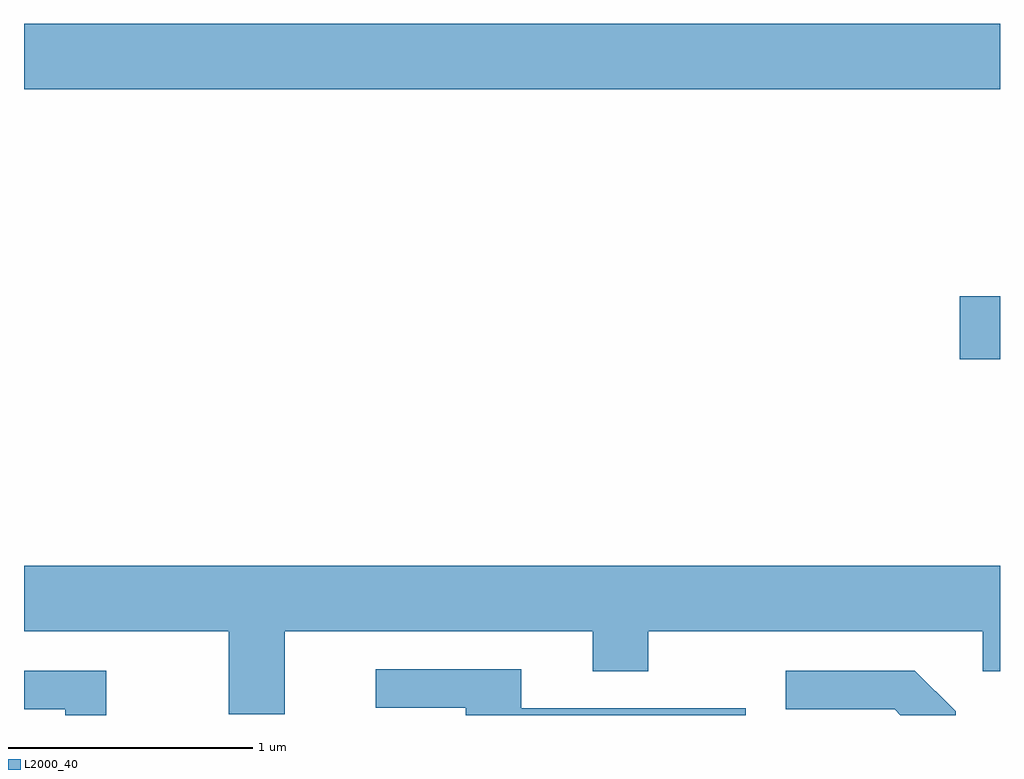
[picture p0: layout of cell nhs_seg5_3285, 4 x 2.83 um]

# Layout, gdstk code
import gdstk
lib = gdstk.Library(unit=1e-6, precision=1e-09)
def R(c, l, rs):  # rectangles x0, y0, x1, y1
    for r in rs: c.add(gdstk.rectangle(r[:2], r[2:], *l))
def P(c, l, *ps):  # polygons
    for p in ps: c.add(gdstk.Polygon(p, *l))
L2000_40 = (2000, 40)

nhs_seg5_3285 = lib.new_cell('nhs_seg5_3285')
R(nhs_seg5_3285, L2000_40, [(287.446,1393.531,287.611,1393.789), (283.611,1394.636,287.611,1394.904)])
P(nhs_seg5_3285, L2000_40, [(284.679,1392.416),(285.941,1392.416),(285.941,1392.251),(286.169,1392.251),(286.169,1392.416),(287.541,1392.416),(287.541,1392.251),(287.611,1392.251),(287.611,1392.684),(283.611,1392.684),(283.611,1392.416),(284.451,1392.416),(284.451,1392.076),(284.679,1392.076)],
  [(286.569,1392.099),(285.649,1392.099),(285.649,1392.259),(285.053,1392.259),(285.053,1392.101),(285.421,1392.101),(285.421,1392.072),(286.569,1392.072)],
  [(283.949,1392.254),(283.611,1392.254),(283.611,1392.096),(283.781,1392.096),(283.781,1392.072),(283.949,1392.072)],
  [(287.429,1392.087),(287.262,1392.254),(286.733,1392.254),(286.733,1392.096),(287.179,1392.096),(287.203,1392.072),(287.429,1392.072)])

lib.write_gds('nhs_seg5_3285.gds')
